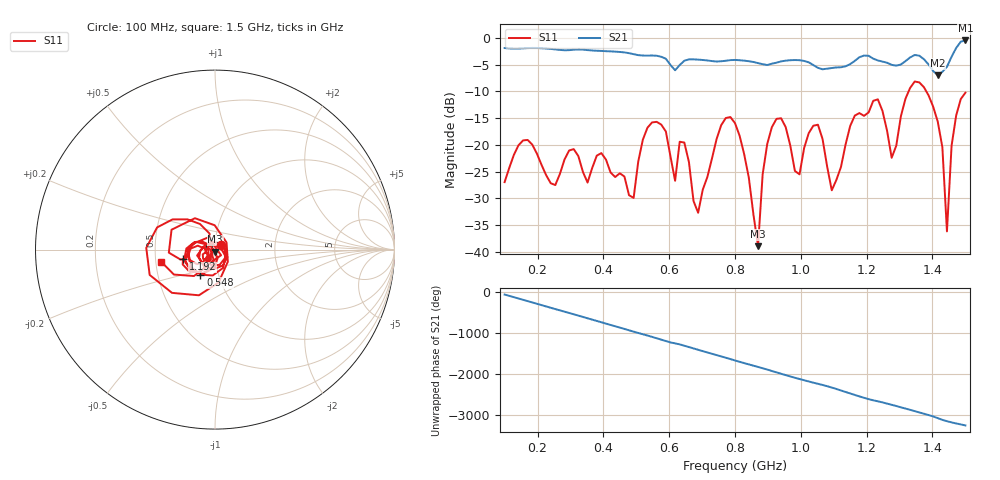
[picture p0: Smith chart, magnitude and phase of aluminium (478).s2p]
! NanoVNA-App
! Date: 2025-09-25 14:59:00
! Start: 100MHz Stop: 1,5GHz Points: 101
! S-Parameter data: F S11 S21 S12 S22
# Hz S RI R 50
!  Frequency  S11_Real  S11_Imag  S21_Real  S21_Imag  S12_Real  S12_Imag  S22_Real  S22_Imag
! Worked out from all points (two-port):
!   101 points, 100 MHz to 1.5 GHz, reference 50 ohm
!   highest |S21| = -0.50 dB at 1.5 GHz (marker M1); lowest = -7.0 dB at 1.416 GHz (marker M2)
!   |S21| within 3 dB of the highest: start of sweep to 572.5 MHz; 1.458 GHz to end of sweep (the widest 2 of 4)
!   lowest |S11| = -38.9 dB at 870 MHz (marker M3), VSWR 1.02, Z = 50.2 - j1.12 ohm
!   |S11| at or under -10 dB: start of sweep to 1.328 GHz; 1.381 GHz to end of sweep
!   S12 and S22 are empty: the file has one direction only
!   S11 on the Smith chart (normalised r, x): 100 MHz: 1.07, +0.06; 548 MHz: 0.82, -0.24; 1.192 GHz: 0.69, -0.08; 1.5 GHz: 0.54, -0.08
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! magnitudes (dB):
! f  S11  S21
! 100 MHz  -27.0  -1.9
! 156 MHz  -19.2  -2.0
! 338 MHz  -25.1  -2.2
! 492 MHz  -29.9  -3.1
! 548 MHz  -15.8  -3.3
! 576 MHz  -16.2  -3.6
! 646 MHz  -19.6  -4.3
! 688 MHz  -32.7  -4.1
! 800 MHz  -15.9  -4.1
! 870 MHz  -38.9  -4.7
! 912 MHz  -16.7  -4.8
! 996 MHz  -25.5  -4.2
! 1.038 GHz  -16.4  -5.1
! 1.094 GHz  -28.5  -5.7
! 1.192 GHz  -14.6  -3.3
! 1.234 GHz  -11.5  -4.2
! 1.276 GHz  -22.4  -5.1
! 1.346 GHz  -8.2  -3.2
! 1.416 GHz  -15.7  -7.0
! 1.444 GHz  -36.2  -5.4
! 1.458 GHz  -20.2  -3.5
! 1.5 GHz  -10.3  -0.5
